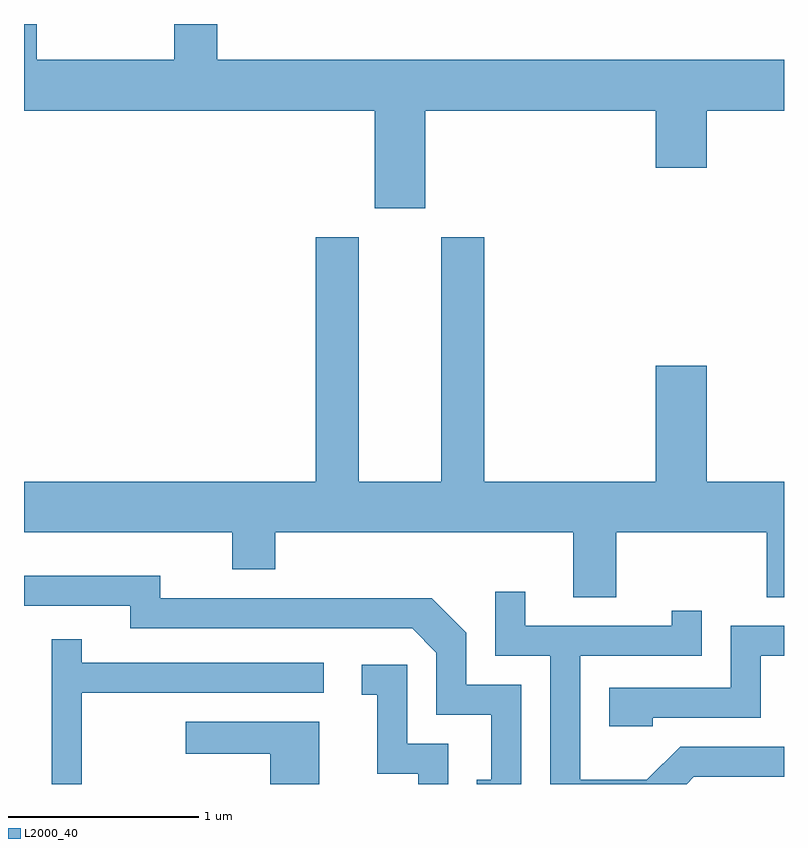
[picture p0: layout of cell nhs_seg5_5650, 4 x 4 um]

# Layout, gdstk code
import gdstk
lib = gdstk.Library(unit=1e-6, precision=1e-09)
def P(c, l, *ps):  # polygons
    for p in ps: c.add(gdstk.Polygon(p, *l))
L2000_40 = (2000, 40)

nhs_seg5_5650 = lib.new_cell('nhs_seg5_5650')
P(nhs_seg5_5650, L2000_40, [(353.724,1525.616),(354.936,1525.616),(354.936,1525.316),(355.204,1525.316),(355.204,1525.616),(355.611,1525.616),(355.611,1525.884),(352.629,1525.884),(352.629,1526.072),(352.401,1526.072),(352.401,1525.884),(351.679,1525.884),(351.679,1526.072),(351.611,1526.072),(351.611,1525.616),(353.456,1525.616),(353.456,1525.101),(353.724,1525.101)],
  [(354.729,1523.396),(355.521,1523.396),(355.521,1523.056),(355.611,1523.056),(355.611,1523.664),(355.204,1523.664),(355.204,1524.274),(354.936,1524.274),(354.936,1523.664),(354.034,1523.664),(354.034,1524.949),(353.806,1524.949),(353.806,1523.664),(353.374,1523.664),(353.374,1524.949),(353.146,1524.949),(353.146,1523.664),(351.611,1523.664),(351.611,1523.396),(352.706,1523.396),(352.706,1523.201),(352.934,1523.201),(352.934,1523.396),(354.501,1523.396),(354.501,1523.056),(354.729,1523.056)],
  [(354.229,1522.594),(353.939,1522.594),(353.939,1522.867),(353.757,1523.049),(352.329,1523.049),(352.329,1523.169),(351.611,1523.169),(351.611,1523.011),(352.171,1523.011),(352.171,1522.891),(353.654,1522.891),(353.781,1522.764),(353.781,1522.436),(354.071,1522.436),(354.071,1522.094),(353.993,1522.094),(353.993,1522.072),(354.229,1522.072)],
  [(355.137,1522.111),(355.611,1522.111),(355.611,1522.269),(355.064,1522.269),(354.889,1522.094),(354.539,1522.094),(354.539,1522.746),(355.179,1522.746),(355.179,1522.983),(355.021,1522.983),(355.021,1522.904),(354.249,1522.904),(354.249,1523.083),(354.091,1523.083),(354.091,1522.746),(354.381,1522.746),(354.381,1522.072),(355.098,1522.072)],
  [(354.919,1522.421),(355.489,1522.421),(355.489,1522.746),(355.611,1522.746),(355.611,1522.904),(355.331,1522.904),(355.331,1522.579),(354.691,1522.579),(354.691,1522.376),(354.919,1522.376)],
  [(351.914,1522.551),(353.188,1522.551),(353.188,1522.709),(351.914,1522.709),(351.914,1522.833),(351.756,1522.833),(351.756,1522.072),(351.914,1522.072)],
  [(353.844,1522.284),(353.629,1522.284),(353.629,1522.699),(353.388,1522.699),(353.388,1522.541),(353.471,1522.541),(353.471,1522.126),(353.686,1522.126),(353.686,1522.072),(353.844,1522.072)],
  [(353.164,1522.399),(352.463,1522.399),(352.463,1522.231),(352.906,1522.231),(352.906,1522.072),(353.164,1522.072)])

lib.write_gds('nhs_seg5_5650.gds')
